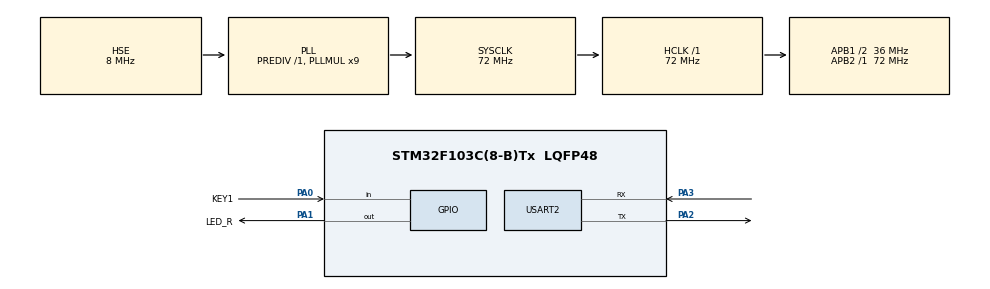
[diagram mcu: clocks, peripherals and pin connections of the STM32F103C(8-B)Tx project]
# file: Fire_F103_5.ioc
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Mcu.Family=STM32F1
Mcu.Name=STM32F103C(8-B)Tx
Mcu.Package=LQFP48
NVIC.PriorityGroup=NVIC_PRIORITYGROUP_4
NVIC.TIM1_UP_IRQn=true\:0\:0\:false\:false\:true\:true\:true\:true
PA0-WKUP.GPIO_Label=KEY1
PA0-WKUP.GPIO_PuPd=GPIO_PULLDOWN
PA0-WKUP.Signal=GPIO_Input
PA1.GPIO_Label=LED_R
PA1.PinState=GPIO_PIN_SET
PA1.Signal=GPIO_Output
PA13.Mode=Serial_Wire
PA13.Signal=SYS_JTMS-SWDIO
PA14.Mode=Serial_Wire
PA14.Signal=SYS_JTCK-SWCLK
PA2.Mode=Asynchronous
PA2.Signal=USART2_TX
PA3.Mode=Asynchronous
PA3.Signal=USART2_RX
PC14-OSC32_IN.Mode=LSE-External-Oscillator
PC14-OSC32_IN.Signal=RCC_OSC32_IN
PC15-OSC32_OUT.Mode=LSE-External-Oscillator
PC15-OSC32_OUT.Signal=RCC_OSC32_OUT
PD0-OSC_IN.Mode=HSE-External-Oscillator
PD0-OSC_IN.Signal=RCC_OSC_IN
PD1-OSC_OUT.Mode=HSE-External-Oscillator
PD1-OSC_OUT.Signal=RCC_OSC_OUT
ProjectManager.HeapSize=0x200
ProjectManager.StackSize=0x400
ProjectManager.TargetToolchain=MDK-ARM V5.32
RCC.AHBFreq_Value=72000000
RCC.APB1CLKDivider=RCC_HCLK_DIV2
RCC.APB1Freq_Value=36000000
RCC.APB1TimFreq_Value=72000000
RCC.APB2Freq_Value=72000000
RCC.APB2TimFreq_Value=72000000
RCC.HCLKFreq_Value=72000000
RCC.PLLMUL=RCC_PLL_MUL9
RCC.PLLSourceVirtual=RCC_PLLSOURCE_HSE
RCC.SYSCLKFreq_VALUE=72000000
RCC.SYSCLKSource=RCC_SYSCLKSOURCE_PLLCLK
RCC.USBFreq_Value=72000000
TIM1.Prescaler=7200-1
USART2.VirtualMode=VM_ASYNC
VP_TIM1_VS_ClockSourceINT.Mode=Internal
board=custom

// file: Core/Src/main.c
/* USER CODE BEGIN Header */
/**
  ******************************************************************************
  * @file           : main.c
  * @brief          : Main program body
  ******************************************************************************
  * @attention
  *
  * Copyright (c) 2026 STMicroelectronics.
  * All rights reserved.
  *
  * This software is licensed under terms that can be found in the LICENSE file
  * in the root directory of this software component.
  * If no LICENSE file comes with this software, it is provided AS-IS.
  *
  ******************************************************************************
  */
/* USER CODE END Header */
#include "main.h"
#include "tim.h"
#include "usart.h"
#include "gpio.h"

/* USER CODE BEGIN Includes */
#include <stdio.h>

/* USER CODE END Includes */

/* USER CODE BEGIN PV */

	uint32_t tim_arr[2]={1000-1,10000-1};//两种ARR，对应两种闪烁速度
	uint8_t mode=0;                     //模式切换
	volatile uint8_t timer_flag=0;      //定时器事件标志位
	volatile uint32_t timer_count=0;//定时器次数统计

/* USER CODE END PV */

void SystemClock_Config(void);

int main(void)
{

  /* MCU Configuration--------------------------------------------------------*/

  /* Reset of all peripherals, Initializes the Flash interface and the Systick. */
  HAL_Init();

  /* Configure the system clock */
  SystemClock_Config();

  /* Initialize all configured peripherals */
  MX_GPIO_Init();
  MX_TIM1_Init();
  MX_USART2_UART_Init();
  /* USER CODE BEGIN 2 */

	__HAL_TIM_SET_AUTORELOAD(&htim1,tim_arr[mode]);//先给TIM1一个初始ARR
	__HAL_TIM_SET_COUNTER(&htim1,0);//清零计数器
	HAL_TIM_Base_Start_IT(&htim1);//启动中断

  /* USER CODE END 2 */

  /* Infinite loop */
  /* USER CODE BEGIN WHILE */
  while (1)
  {
		if(timer_flag)
		{
			timer_flag=0;
			HAL_GPIO_TogglePin(LED_R_GPIO_Port, LED_R_Pin);
			printf("系统运行中，计数=%lu,模式=%d\r\n",timer_count,mode);

		}
		if(HAL_GPIO_ReadPin(KEY1_GPIO_Port,KEY1_Pin)==GPIO_PIN_SET)
		{
			mode=!mode;
			HAL_TIM_Base_Stop_IT(&htim1);
			__HAL_TIM_SET_AUTORELOAD(& htim1,tim_arr[mode]);
			__HAL_TIM_SET_COUNTER(&htim1,0);
			HAL_TIM_Base_Start_IT(&htim1);
			while(HAL_GPIO_ReadPin(KEY1_GPIO_Port,KEY1_Pin)==GPIO_PIN_SET);
		}

    /* USER CODE END WHILE */

  }
}

void SystemClock_Config(void)
{
  RCC_OscInitTypeDef RCC_OscInitStruct = {0};
  RCC_ClkInitTypeDef RCC_ClkInitStruct = {0};

  /** Initializes the RCC Oscillators according to the specified parameters
  * in the RCC_OscInitTypeDef structure.
  */
  RCC_OscInitStruct.OscillatorType = RCC_OSCILLATORTYPE_HSE;
  RCC_OscInitStruct.HSEState = RCC_HSE_ON;
  RCC_OscInitStruct.HSEPredivValue = RCC_HSE_PREDIV_DIV1;
  RCC_OscInitStruct.HSIState = RCC_HSI_ON;
  RCC_OscInitStruct.PLL.PLLState = RCC_PLL_ON;
  RCC_OscInitStruct.PLL.PLLSource = RCC_PLLSOURCE_HSE;
  RCC_OscInitStruct.PLL.PLLMUL = RCC_PLL_MUL9;
  if (HAL_RCC_OscConfig(&RCC_OscInitStruct) != HAL_OK)
  {
    Error_Handler();
  }

  /** Initializes the CPU, AHB and APB buses clocks
  */
  RCC_ClkInitStruct.ClockType = RCC_CLOCKTYPE_HCLK|RCC_CLOCKTYPE_SYSCLK
                              |RCC_CLOCKTYPE_PCLK1|RCC_CLOCKTYPE_PCLK2;
  RCC_ClkInitStruct.SYSCLKSource = RCC_SYSCLKSOURCE_PLLCLK;
  RCC_ClkInitStruct.AHBCLKDivider = RCC_SYSCLK_DIV1;
  RCC_ClkInitStruct.APB1CLKDivider = RCC_HCLK_DIV2;
  RCC_ClkInitStruct.APB2CLKDivider = RCC_HCLK_DIV1;

  if (HAL_RCC_ClockConfig(&RCC_ClkInitStruct, FLASH_LATENCY_2) != HAL_OK)
  {
    Error_Handler();
  }
}

/* USER CODE BEGIN 4 */
	int fputc(int ch,FILE*f)//把printf重定向到USART2
	{
		HAL_UART_Transmit(&huart2,(uint8_t*)&ch,1 ,HAL_MAX_DELAY);
		return ch;

	}
	void HAL_TIM_PeriodElapsedCallback(TIM_HandleTypeDef*htim)//TIM1中断到了以后，置标志位，并计数
	{
		if(htim->Instance==TIM1)
		{
			timer_flag=1;
			timer_count++;
		}

	}

/* USER CODE END 4 */

void Error_Handler(void)
{
  __disable_irq();
  while (1)
  {
  }
}
